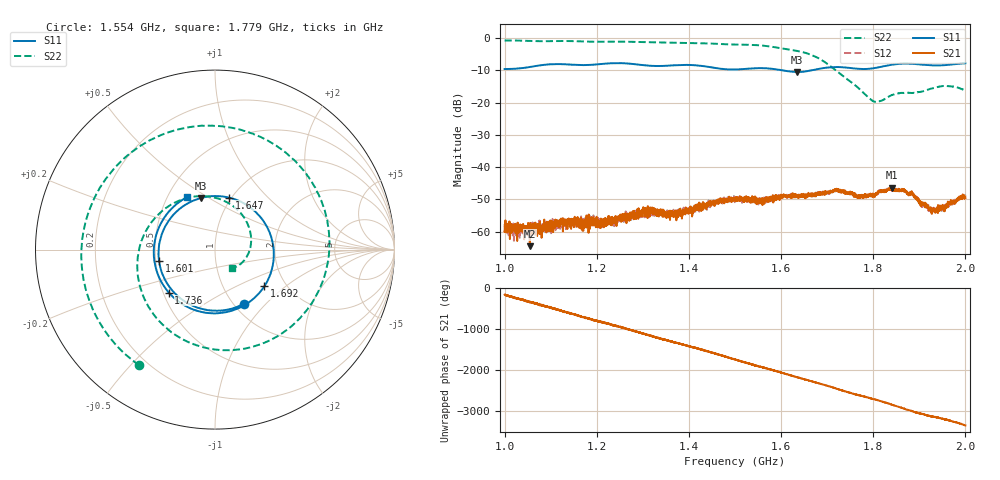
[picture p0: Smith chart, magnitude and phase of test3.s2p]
!Keysight Technologies N9923A: A.08.15
!Date: Friday, 16 February 2024 15:21:21
!Timezone: (GMT-05:00) Eastern Time (US & Canada)
!Model: N9923A
!Serial: MY52412730
!GPS Latitude:
!GPS Longitude:
!GPS TimeStamp: 0001-01-01 00:00:00Z
!GPS Seconds Since Last Read: 0
!CHECKSUM:1122250747
!Correction: S11(ON Q)S21(ON Q)S12(ON Q)S22(ON Q)
!S2P File: Measurements:S11,S21,S12,S22:
# Hz S DB R 50
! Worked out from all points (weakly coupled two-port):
!   4001 points, 1 GHz to 2 GHz, reference 50 ohm
!   highest |S21| = -46.43 dB at 1.841 GHz (marker M1); lowest = -64.5 dB at 1.055 GHz (marker M2)
!   lowest |S11| = -10.5 dB at 1.635 GHz (marker M3), VSWR 1.85, Z = 36.6 + j23 ohm
!   |S11| at or under -10 dB: 1.603 GHz to 1.666 GHz (63.74 MHz wide, 3.9 % of centre); 1.666665 GHz to 1.666793 GHz (128.2 kHz wide, 0.00769 % of centre)
!   |S22| runs from -19.8 to -0.7 dB; largest |S21 - S12| = 0.00073
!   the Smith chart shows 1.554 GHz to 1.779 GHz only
!   S11 on the Smith chart (normalised r, x): 1.554 GHz: 1.11, -0.76; 1.601 GHz: 0.52, -0.07; 1.647 GHz: 0.98, +0.62; 1.692 GHz: 1.56, -0.72; 1.736 GHz: 0.53, -0.29; 1.779 GHz: 0.62, +0.41
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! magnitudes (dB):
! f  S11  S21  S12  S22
! 1 GHz  -9.6  -59.9  -58.2  -0.7
! 1.055 GHz  -9.0  -64.5  -59.3  -0.9
! 1.167 GHz  -8.4  -56.6  -56.6  -1.0
! 1.216 GHz  -8.0  -56.9  -57.8  -1.1
! 1.3 GHz  -8.4  -54.2  -55.1  -1.2
! 1.333 GHz  -8.7  -55.2  -54.3  -1.4
! 1.373 GHz  -8.4  -54.5  -54.7  -1.4
! 1.5 GHz  -9.7  -50.1  -50.5  -2.0
! 1.554 GHz  -9.3  -50.2  -51.1  -2.3
! 1.601 GHz  -9.9  -49.3  -49.2  -3.2
! 1.635 GHz  -10.5  -49.1  -48.7  -4.0
! 1.647 GHz  -10.5  -48.7  -48.8  -4.3
! 1.667 GHz  -10.0  -49.1  -48.2  -5.3
! 1.692 GHz  -9.3  -48.3  -48.1  -7.1
! 1.736 GHz  -9.1  -47.4  -47.9  -12.0
! 1.779 GHz  -9.6  -49.4  -48.9  -17.0
! 1.804 GHz  -9.3  -48.6  -48.7  -19.7
! 1.833 GHz  -8.4  -47.1  -46.9  -18.2
! 1.841 GHz  -8.2  -46.4  -46.3  -17.6
! 1.883 GHz  -8.0  -48.4  -48.3  -17.0
! 1.928 GHz  -8.5  -53.8  -54.1  -15.6
! 2 GHz  -7.8  -49.6  -49.3  -16.2
